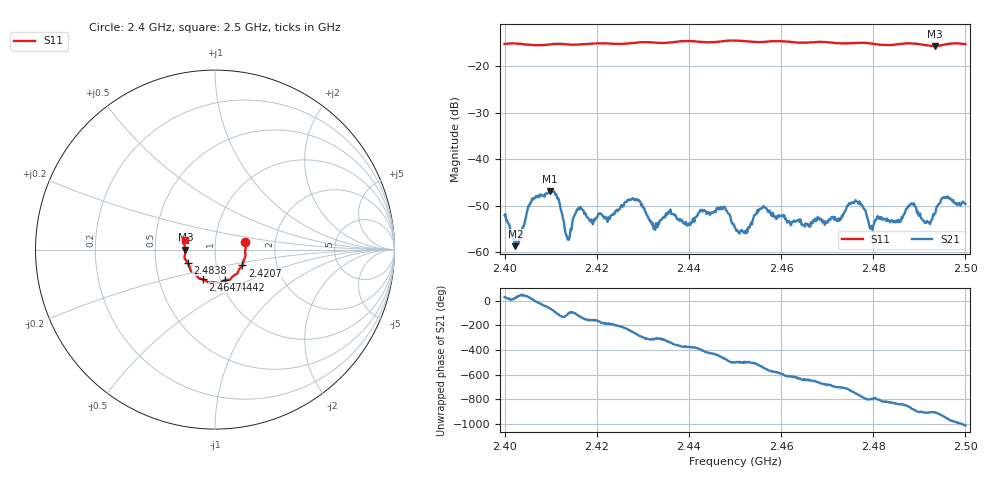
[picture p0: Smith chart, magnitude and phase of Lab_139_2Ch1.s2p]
# Hz S RI R 50
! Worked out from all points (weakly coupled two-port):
!   601 points, 2.4 GHz to 2.5 GHz, reference 50 ohm
!   highest |S21| = -46.79 dB at 2.4098 GHz (marker M1); lowest = -58.7 dB at 2.4023 GHz (marker M2)
!   lowest |S11| = -15.6 dB at 2.4933 GHz (marker M3), VSWR 1.40, Z = 35.8 - j0.00215 ohm
!   |S11| at or under -10 dB: start of sweep to end of sweep
!   S12 and S22 are empty: the file has one direction only
!   S11 on the Smith chart (normalised r, x): 2.4 GHz: 1.40, +0.12; 2.4207 GHz: 1.33, -0.24; 2.4442 GHz: 1.05, -0.37; 2.4647 GHz: 0.83, -0.29; 2.4838 GHz: 0.73, -0.11; 2.5 GHz: 0.71, +0.08
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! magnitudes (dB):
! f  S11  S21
! 2.4 GHz  -15.2  -52.0
! 2.4023 GHz  -15.1  -58.7
! 2.406 GHz  -15.4  -48.4
! 2.4098 GHz  -15.3  -46.8
! 2.4115 GHz  -15.2  -48.5
! 2.4137 GHz  -15.3  -57.2
! 2.4167 GHz  -15.3  -50.7
! 2.4207 GHz  -15.1  -51.6
! 2.4282 GHz  -15.0  -48.8
! 2.4333 GHz  -15.0  -53.6
! 2.4442 GHz  -14.9  -51.3
! 2.4473 GHz  -14.6  -50.7
! 2.45 GHz  -14.5  -54.7
! 2.4562 GHz  -14.8  -50.0
! 2.4647 GHz  -14.9  -54.1
! 2.4667 GHz  -14.8  -53.7
! 2.4762 GHz  -15.0  -48.8
! 2.4795 GHz  -15.1  -54.4
! 2.4833 GHz  -15.5  -53.1
! 2.4838 GHz  -15.4  -53.2
! 2.4933 GHz  -15.6  -51.7
! 2.5 GHz  -15.3  -49.6
